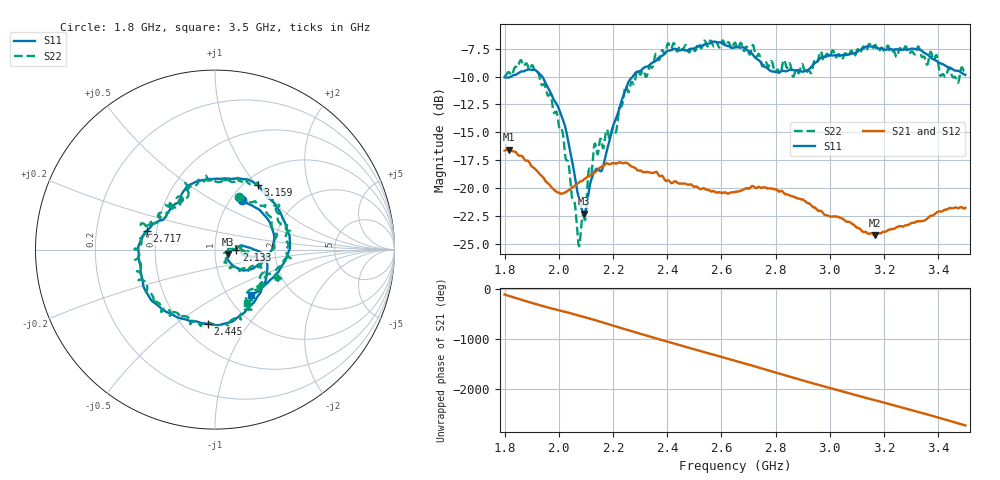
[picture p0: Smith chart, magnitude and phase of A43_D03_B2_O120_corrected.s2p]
! Created with skrf 1.9.0 (http://scikit-rf.org).
# Hz S RI R 50.0
!freq ReS11 ImS11 ReS21 ImS21 ReS12 ImS12 ReS22 ImS22
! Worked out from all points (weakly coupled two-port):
!   1601 points, 1.8 GHz to 3.5 GHz, reference 50 ohm
!   highest |S21| = -16.55 dB at 1.817 GHz (marker M1); lowest = -24.2 dB at 3.165 GHz (marker M2)
!   lowest |S11| = -22.3 dB at 2.093 GHz (marker M3), VSWR 1.17, Z = 57.8 - j2.76 ohm
!   |S11| at or under -10 dB: start of sweep to 1.824 GHz; 1.938 GHz to 2.273 GHz (334.5 MHz wide, 15.9 % of centre)
!   |S22| runs from -25.2 to -6.8 dB; largest |S21 - S12| = 0.0026
!   S11 on the Smith chart (normalised r, x): 1.8 GHz: 1.13, +0.69; 2.133 GHz: 1.27, +0.00; 2.445 GHz: 0.66, -0.66; 2.717 GHz: 0.44, +0.11; 3.159 GHz: 1.14, +1.01; 3.5 GHz: 1.27, -0.72
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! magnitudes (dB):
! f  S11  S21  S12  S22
! 1.8 GHz  -10.1  -16.6  -16.6  -9.8
! 1.817 GHz  -10.1  -16.5  -16.6  -9.6
! 1.903 GHz  -9.4  -18.1  -18.1  -9.0
! 1.968 GHz  -11.4  -19.8  -19.8  -11.6
! 2.015 GHz  -13.8  -20.5  -20.5  -15.1
! 2.072 GHz  -20.7  -19.5  -19.6  -25.0
! 2.084 GHz  -21.8  -19.4  -19.3  -23.1
! 2.093 GHz  -22.3  -19.2  -19.3  -22.6
! 2.133 GHz  -18.5  -18.6  -18.6  -16.0
! 2.161 GHz  -18.2  -18.1  -18.0  -16.3
! 2.209 GHz  -13.8  -17.8  -17.8  -15.0
! 2.259 GHz  -10.4  -17.9  -17.9  -11.3
! 2.367 GHz  -8.4  -18.8  -18.7  -8.5
! 2.445 GHz  -7.7  -19.6  -19.6  -7.3
! 2.65 GHz  -7.4  -20.3  -20.3  -7.0
! 2.717 GHz  -8.1  -19.8  -19.8  -7.2
! 2.803 GHz  -9.6  -20.1  -20.2  -9.5
! 2.934 GHz  -9.1  -21.6  -21.6  -9.5
! 3.159 GHz  -7.3  -24.1  -24.1  -7.4
! 3.165 GHz  -7.3  -24.2  -24.2  -7.2
! 3.217 GHz  -7.5  -23.7  -23.7  -7.4
! 3.5 GHz  -9.9  -21.8  -21.8  -9.2
